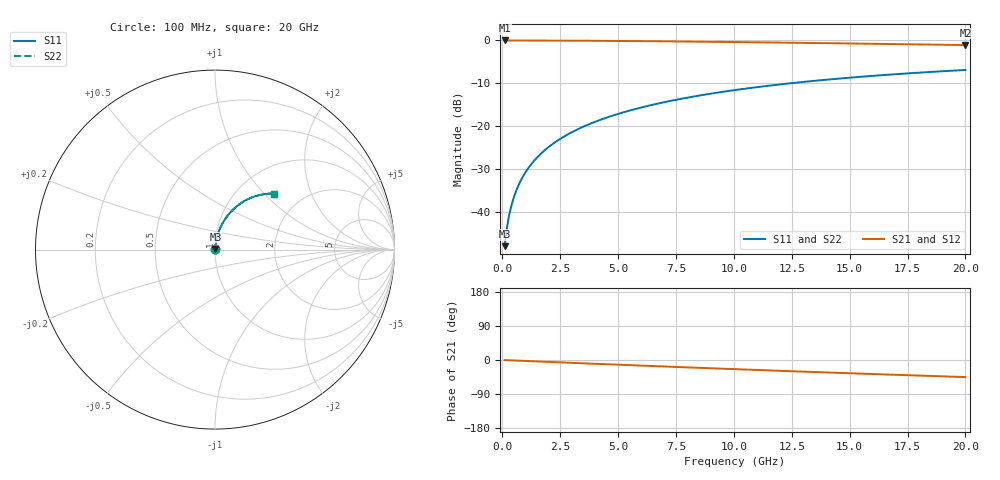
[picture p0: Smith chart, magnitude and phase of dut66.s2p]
! Touchstone file exported from HFSS 2026.1.0
!  File:  C:/ffzhzh/LocalFiles/Ansys_Project_Files/temp_train_TMRDL_66_1782881123_42304.aedt
!  Generated:  12:46:39 PM Jul  1, 2026
!  Design:  TMRDL
!  Project:  temp_train_TMRDL_66_1782881123_42304
! Variables:
!  h_bsmrdl = 2um
!  h_ox = 20um
!  h_rdl = 5um
!  h_sub = 80um
!  h_tmrdl = 4.68um
!  h_tsv = 80um
!  h_via = 3um
!  l_bsmrdl = 300um
!  l_sub = 1032.79um
!  l_tmrdl = 632.79um
!  m_sub = 200um
!  pitch = 54.99um
!  r_tsv = 6um
!  s_tmrdl = 10um
!  w_bsmrdl = 18um
!  w_sub = 500um
!  w_tmrdl = 19.24um
!  x_tsv_center1 = 642.41um
!  x_tsv_center2 = 960.41um
!  x_tsv_center3 = 1612.44um
!  x_tsv_center4 = 1930.44um
!  x_tsv_center5 = 2582.47um
!  x_tsv_center6 = 2900.47um
# GHz S MA R 50.000000
! Terminal data exported
! Port[1] = TM_RDL1_1_T1
! Port[2] = TM_RDL1_1_T2
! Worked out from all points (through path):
!   200 points, 100 MHz to 20 GHz, reference 50 ohm
!   highest |S21| = -0.02 dB at 100 MHz (marker M1); lowest = -1.1 dB at 20 GHz (marker M2)
!   group delay of S21, straight-line fit = 6.26 ps
!   lowest |S11| = -47.9 dB at 100 MHz (marker M3), VSWR 1.01, Z = 50.3 + j0.304 ohm
!   |S11| at or under -10 dB: start of sweep to 12.43 GHz
!   |S22| runs from -47.9 to -6.9 dB; largest |S21 - S12| = 3.1e-15
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0.1  0.004013 48.9  0.9974 -0.3  0.9974 -0.3  0.004013 48.9
! Gamma 0 0 0 0
! Port Impedance 50 0 50 0
0.2  0.006591 64.9  0.9972 -0.5  0.9972 -0.5  0.006591 64.9
0.3  0.009328 71.4  0.9971 -0.8  0.9971 -0.8  0.009328 71.4
0.4  0.0121 74.9  0.997 -1.0  0.997 -1.0  0.0121 74.9
0.5  0.01489 77.1  0.9969 -1.3  0.9969 -1.3  0.01489 77.1
0.7  0.02051 79.5  0.9967 -1.8  0.9967 -1.8  0.02051 79.5
0.8  0.02333 80.2  0.9966 -2.0  0.9966 -2.0  0.02333 80.2
1  0.02899 81.1  0.9964 -2.5  0.9964 -2.5  0.02899 81.1
1.2  0.03466 81.5  0.9961 -3.0  0.9961 -3.0  0.03466 81.5
1.4  0.04032 81.6  0.9958 -3.5  0.9958 -3.5  0.04032 81.6
1.7  0.0488 81.5  0.9952 -4.3  0.9952 -4.3  0.0488 81.5
2  0.05725 81.2  0.9946 -5.0  0.9946 -5.0  0.05725 81.2
2.7  0.07681 80.1  0.9928 -6.8  0.9928 -6.8  0.07681 80.1
3.5  0.09884 78.5  0.9903 -8.8  0.9903 -8.8  0.09884 78.5
4.2  0.1178 76.9  0.9877 -10.5  0.9877 -10.5  0.1178 76.9
5  0.1391 75.2  0.9844 -12.4  0.9844 -12.4  0.1391 75.2
6.8  0.1856 71.1  0.9756 -16.7  0.9756 -16.7  0.1856 71.1
8.3  0.2226 67.8  0.967 -20.2  0.967 -20.2  0.2226 67.8
10.1  0.265 63.8  0.9556 -24.3  0.9556 -24.3  0.265 63.8
13.4  0.3363 56.8  0.9322 -31.6  0.9322 -31.6  0.3363 56.8
16.7  0.3987 50.0  0.907 -38.5  0.907 -38.5  0.3987 50.0
20  0.4522 43.6  0.8815 -45.1  0.8815 -45.1  0.4522 43.7
